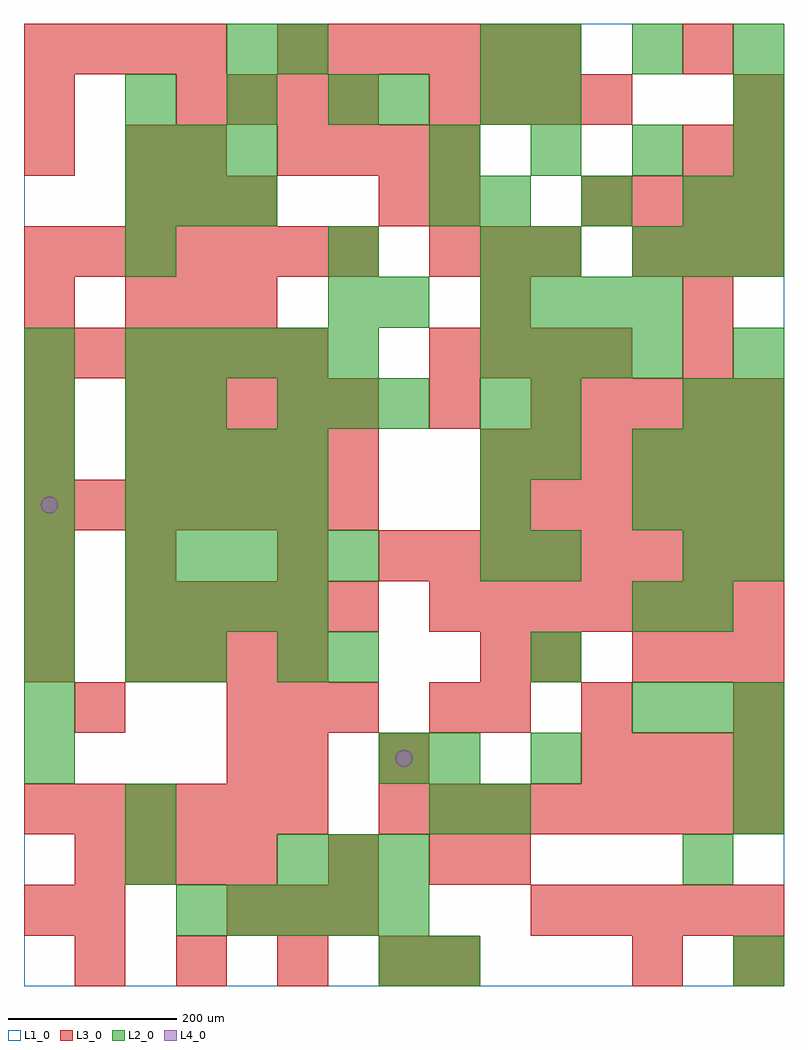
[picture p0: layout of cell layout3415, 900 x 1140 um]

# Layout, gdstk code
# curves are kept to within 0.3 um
import gdstk
lib = gdstk.Library(unit=1e-6, precision=1e-09)
def R(c, l, rs):  # rectangles x0, y0, x1, y1
    for r in rs: c.add(gdstk.rectangle(r[:2], r[2:], *l))
def A(c, l, x, y, w, h, nx, ny, dx, dy):  # array of equal rectangles
    R(c, l, [(x+i*dx, y+j*dy, x+i*dx+w, y+j*dy+h) for i in range(nx) for j in range(ny)])
def P(c, l, *ps):  # polygons
    for p in ps: c.add(gdstk.Polygon(p, *l))
L1_0 = (1, 0)
L2_0 = (2, 0)
L3_0 = (3, 0)
L4_0 = (4, 0)

layout3415 = lib.new_cell('layout3415')
R(layout3415, L1_0, [(0,0,900,1140)])
A(layout3415, L2_0, 180, 60, 60, 60, 5, 1, 60, 0)
A(layout3415, L2_0, 300, 120, 60, 60, 3, 2, 60, 540)
A(layout3415, L2_0, 0, 240, 60, 60, 1, 9, 0, 60)
A(layout3415, L2_0, 600, 240, 60, 60, 1, 4, 0, 120)
A(layout3415, L2_0, 720, 300, 60, 60, 3, 2, 60, 240)
A(layout3415, L2_0, 120, 420, 60, 60, 4, 2, 60, 120)
A(layout3415, L2_0, 120, 480, 60, 60, 5, 2, 60, 240)
A(layout3415, L2_0, 540, 480, 60, 60, 1, 4, 0, 60)
A(layout3415, L2_0, 120, 600, 60, 60, 4, 1, 60, 0)
A(layout3415, L2_0, 720, 600, 60, 60, 3, 2, 60, 240)
A(layout3415, L2_0, 600, 660, 60, 60, 1, 3, 0, 180)
A(layout3415, L2_0, 540, 720, 60, 60, 4, 2, 60, 60)
A(layout3415, L2_0, 120, 900, 60, 60, 3, 2, 60, 60)
A(layout3415, L2_0, 540, 900, 60, 60, 3, 1, 120, 0)
A(layout3415, L2_0, 480, 960, 60, 60, 4, 1, 120, 0)
A(layout3415, L2_0, 120, 1020, 60, 60, 3, 1, 120, 0)
A(layout3415, L2_0, 600, 1080, 60, 60, 3, 1, 120, 0)
R(layout3415, L2_0, [(420,0,480,60), (480,0,540,60), (840,0,900,60), (120,120,180,180), (780,120,840,180), (120,180,180,240), (480,180,540,240), (540,180,600,240), (840,180,900,240), (420,240,480,300), (480,240,540,300), (840,240,900,300), (120,360,180,420), (180,360,240,420), (300,360,360,420), (360,360,420,420), (720,420,780,480), (780,420,840,480), (780,480,840,540), (840,480,900,540), (120,660,180,720), (180,660,240,720), (780,660,840,720), (840,660,900,720), (840,720,900,780), (360,780,420,840), (420,780,480,840), (120,840,180,900), (360,840,420,900), (540,840,600,900), (480,900,540,960), (840,900,900,960), (420,1020,480,1080), (540,1020,600,1080), (840,1020,900,1080), (240,1080,300,1140), (300,1080,360,1140), (540,1080,600,1140)])
A(layout3415, L3_0, 60, 0, 60, 60, 4, 1, 120, 0)
A(layout3415, L3_0, 240, 60, 60, 60, 3, 2, 60, 240)
A(layout3415, L3_0, 600, 60, 60, 60, 5, 2, 60, 600)
A(layout3415, L3_0, 60, 120, 60, 60, 4, 1, 60, 0)
A(layout3415, L3_0, 0, 180, 60, 60, 6, 2, 60, 540)
A(layout3415, L3_0, 420, 180, 60, 60, 8, 2, 60, 300)
A(layout3415, L3_0, 660, 240, 60, 60, 4, 2, 60, 660)
A(layout3415, L3_0, 0, 360, 60, 60, 1, 3, 0, 60)
A(layout3415, L3_0, 120, 360, 60, 60, 4, 1, 60, 0)
A(layout3415, L3_0, 720, 360, 60, 60, 3, 2, 60, 480)
A(layout3415, L3_0, 120, 420, 60, 60, 5, 2, 60, 180)
A(layout3415, L3_0, 480, 420, 60, 60, 7, 1, 60, 0)
A(layout3415, L3_0, 0, 540, 60, 60, 7, 2, 60, 300)
A(layout3415, L3_0, 540, 540, 60, 60, 6, 2, 60, 60)
A(layout3415, L3_0, 120, 660, 60, 60, 5, 1, 60, 0)
A(layout3415, L3_0, 480, 720, 60, 60, 4, 2, 60, 300)
A(layout3415, L3_0, 120, 780, 60, 60, 3, 2, 60, 120)
A(layout3415, L3_0, 480, 840, 60, 60, 3, 1, 60, 0)
A(layout3415, L3_0, 300, 960, 60, 60, 4, 1, 60, 0)
A(layout3415, L3_0, 180, 1020, 60, 60, 4, 1, 60, 0)
A(layout3415, L3_0, 0, 1080, 60, 60, 4, 1, 60, 0)
A(layout3415, L3_0, 300, 1080, 60, 60, 6, 1, 60, 0)
R(layout3415, L3_0, [(480,0,540,60), (720,0,780,60), (840,0,900,60), (0,60,60,120), (60,60,120,120), (360,120,420,180), (480,120,540,180), (540,120,600,180), (240,240,300,300), (300,240,360,300), (420,240,480,300), (60,300,120,360), (480,300,540,360), (540,300,600,360), (660,300,720,360), (840,300,900,360), (540,360,600,420), (600,360,660,420), (120,480,180,540), (300,480,360,540), (0,600,60,660), (0,660,60,720), (480,660,540,720), (780,720,840,780), (0,780,60,840), (540,780,600,840), (780,780,840,840), (420,900,480,960), (480,900,540,960), (0,960,60,1020), (120,960,180,1020), (180,960,240,1020), (780,960,840,1020), (840,960,900,1020), (0,1020,60,1080), (840,1020,900,1080), (780,1080,840,1140)])
P(layout3415, L4_0, [(40,570),(39.239,573.827),(37.071,577.071),(33.827,579.239),(30,580),(26.173,579.239),(22.929,577.071),(20.761,573.827),(20,570),(20.761,566.173),(22.929,562.929),(26.173,560.761),(30,560),(33.827,560.761),(37.071,562.929),(39.239,566.173)],
  [(460,270),(459.239,273.827),(457.071,277.071),(453.827,279.239),(450,280),(446.173,279.239),(442.929,277.071),(440.761,273.827),(440,270),(440.761,266.173),(442.929,262.929),(446.173,260.761),(450,260),(453.827,260.761),(457.071,262.929),(459.239,266.173)])

lib.write_gds('layout3415.gds')
